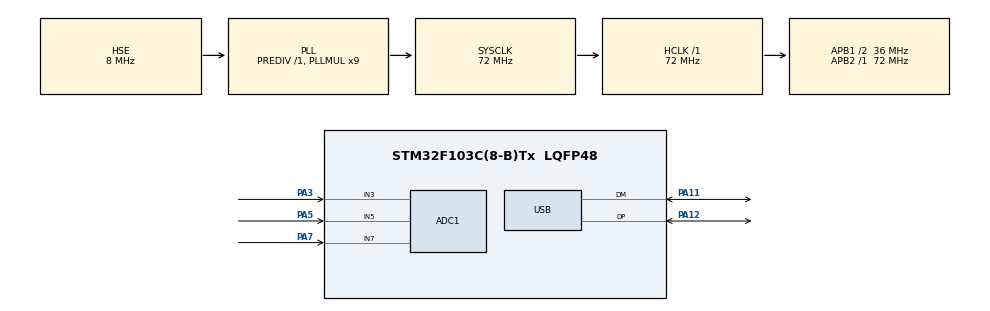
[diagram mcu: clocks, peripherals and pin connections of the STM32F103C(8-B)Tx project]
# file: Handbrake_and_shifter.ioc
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ADC1.Channel-1\#ChannelRegularConversion=ADC_CHANNEL_3
ADC1.Channel-2\#ChannelRegularConversion=ADC_CHANNEL_5
ADC1.Channel-3\#ChannelRegularConversion=ADC_CHANNEL_7
ADC1.ContinuousConvMode=ENABLE
ADC1.NbrOfConversion=3
ADC1.NbrOfConversionFlag=1
ADC1.Rank-1\#ChannelRegularConversion=1
ADC1.Rank-2\#ChannelRegularConversion=2
ADC1.Rank-3\#ChannelRegularConversion=3
ADC1.SamplingTime-1\#ChannelRegularConversion=ADC_SAMPLETIME_7CYCLES_5
ADC1.SamplingTime-2\#ChannelRegularConversion=ADC_SAMPLETIME_7CYCLES_5
ADC1.SamplingTime-3\#ChannelRegularConversion=ADC_SAMPLETIME_7CYCLES_5
ADC1.master=1
Dma.ADC1.0.Direction=DMA_PERIPH_TO_MEMORY
Dma.ADC1.0.Instance=DMA1_Channel1
Dma.ADC1.0.MemDataAlignment=DMA_MDATAALIGN_HALFWORD
Dma.ADC1.0.MemInc=DMA_MINC_ENABLE
Dma.ADC1.0.Mode=DMA_CIRCULAR
Dma.ADC1.0.PeriphDataAlignment=DMA_PDATAALIGN_HALFWORD
Dma.ADC1.0.PeriphInc=DMA_PINC_DISABLE
Dma.ADC1.0.Priority=DMA_PRIORITY_LOW
Dma.Request0=ADC1
Mcu.Family=STM32F1
Mcu.Name=STM32F103C(8-B)Tx
Mcu.Package=LQFP48
NVIC.PriorityGroup=NVIC_PRIORITYGROUP_4
NVIC.USB_LP_CAN1_RX0_IRQn=true\:0\:0\:false\:false\:true\:false\:true
PA11.Mode=Device
PA11.Signal=USB_DM
PA12.Mode=Device
PA12.Signal=USB_DP
PA13.Mode=Serial_Wire
PA13.Signal=SYS_JTMS-SWDIO
PA14.Mode=Serial_Wire
PA14.Signal=SYS_JTCK-SWCLK
PA3.Signal=ADCx_IN3
PA5.Signal=ADCx_IN5
PA7.Signal=ADCx_IN7
PD0-OSC_IN.Mode=HSE-External-Oscillator
PD0-OSC_IN.Signal=RCC_OSC_IN
PD1-OSC_OUT.Mode=HSE-External-Oscillator
PD1-OSC_OUT.Signal=RCC_OSC_OUT
ProjectManager.HeapSize=0x200
ProjectManager.StackSize=0x400
ProjectManager.TargetToolchain=STM32CubeIDE
RCC.ADCPresc=RCC_ADCPCLK2_DIV6
RCC.AHBFreq_Value=72000000
RCC.APB1CLKDivider=RCC_HCLK_DIV2
RCC.APB1Freq_Value=36000000
RCC.APB1TimFreq_Value=72000000
RCC.APB2Freq_Value=72000000
RCC.APB2TimFreq_Value=72000000
RCC.HCLKFreq_Value=72000000
RCC.PLLMUL=RCC_PLL_MUL9
RCC.SYSCLKFreq_VALUE=72000000
RCC.SYSCLKSource=RCC_SYSCLKSOURCE_PLLCLK
RCC.USBFreq_Value=48000000
RCC.USBPrescaler=RCC_USBCLKSOURCE_PLL_DIV1_5
SH.ADCx_IN3.0=ADC1_IN3,IN3
SH.ADCx_IN5.0=ADC1_IN5,IN5
SH.ADCx_IN7.0=ADC1_IN7,IN7
USB_DEVICE.CLASS_NAME_FS=CUSTOM_HID
USB_DEVICE.PID_CUSTOMHID_FS=22352 
USB_DEVICE.PRODUCT_STRING_CUSTOMHID_FS=Hydraulic Handbrake and Sequential Shifter
USB_DEVICE.USBD_CUSTOMHID_OUTREPORT_BUF_SIZE=3
USB_DEVICE.USBD_CUSTOM_HID_REPORT_DESC_SIZE=49
USB_DEVICE.VirtualMode=CustomHid
USB_DEVICE.VirtualModeFS=Custom_Hid_FS
VP_USB_DEVICE_VS_USB_DEVICE_CUSTOM_HID_FS.Mode=CUSTOM_HID_FS
board=custom

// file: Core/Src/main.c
/* USER CODE BEGIN Header */
/**
 ******************************************************************************
 * @file           : main.c
 * @brief          : Main program body
 ******************************************************************************
 * @attention
 *
 * <h2><center>&copy; Copyright (c) 2021 STMicroelectronics.
 * All rights reserved.</center></h2>
 *
 * This software component is licensed by ST under Ultimate Liberty license
 * SLA0044, the "License"; You may not use this file except in compliance with
 * the License. You may obtain a copy of the License at:
 *                             www.st.com/SLA0044
 *
 ******************************************************************************
 */
/* USER CODE END Header */
#include "main.h"
#include "adc.h"
#include "dma.h"
#include "usb_device.h"
#include "gpio.h"

/* USER CODE BEGIN Includes */
#include "usbd_customhid.h"
/* USER CODE END Includes */

/* USER CODE BEGIN PV */
extern USBD_HandleTypeDef hUsbDeviceFS;
extern ADC_HandleTypeDef hadc1;
uint16_t adc_result[3]; // { A3, A5, A7 }; default { brake, shift up, shift down }
/* USER CODE END PV */

void SystemClock_Config(void);

int main(void)
{

  /* MCU Configuration--------------------------------------------------------*/

  /* Reset of all peripherals, Initializes the Flash interface and the Systick. */
  HAL_Init();

  /* Configure the system clock */
  SystemClock_Config();

  /* Initialize all configured peripherals */
  MX_GPIO_Init();
  MX_DMA_Init();
  MX_ADC1_Init();
  MX_USB_DEVICE_Init();
  /* USER CODE BEGIN 2 */
	while (HAL_ADCEx_Calibration_Start(&hadc1) != HAL_OK);
	HAL_ADC_Start_DMA(&hadc1, (uint32_t*) adc_result, 3);
  /* USER CODE END 2 */

  /* Infinite loop */
  /* USER CODE BEGIN WHILE */
	while (1) {
		uint8_t usb_report[3]; // { buttons, brake_lsb, brake_msb }
		int16_t brake_adc;	// temporary variable for the brake adc result
		uint8_t shift_up;		// digital value of shift up
		uint8_t shift_down;		// digital value of shift down
		// rescaling the brake adc result to range 0-1000 using formula:
		// new_val = (old_val - old_min) * (new_max - new_min) / (old_max - old_min) + new_min
		brake_adc = ((int16_t) adc_result[0] - 2120) * (1023 - 0)
				/ (3000 - 2120) + 0;
		if (brake_adc < 0)
			brake_adc = 0;	// min. value of brake analog signal
		else if (brake_adc > 1023)
			brake_adc = 1023;	// max. value of brake analog signal
		if (adc_result[1] > 2600)
			shift_up = 1;	// digital value of shift up pressed
		else if (adc_result[1] < 2500)
			shift_up = 0;	// digital value of shift up not pressed
		if (adc_result[2] > 2600)
			shift_down = 2;	// digital value of shift down pressed
		else if (adc_result[2] < 2500)
			shift_down = 0;	// digital value of shift down not pressed
		usb_report[0] = 0b00000011 & (shift_up + shift_down);	// buttons
		usb_report[1] = (uint8_t) brake_adc;	// lsb of analog signal
		usb_report[2] = (uint8_t) (brake_adc >> 8);	// msb of analog signal
		USBD_CUSTOM_HID_SendReport(&hUsbDeviceFS, usb_report, 3);
		HAL_Delay(20);
    /* USER CODE END WHILE */

	}
}

void SystemClock_Config(void)
{
  RCC_OscInitTypeDef RCC_OscInitStruct = {0};
  RCC_ClkInitTypeDef RCC_ClkInitStruct = {0};
  RCC_PeriphCLKInitTypeDef PeriphClkInit = {0};

  /** Initializes the RCC Oscillators according to the specified parameters
  * in the RCC_OscInitTypeDef structure.
  */
  RCC_OscInitStruct.OscillatorType = RCC_OSCILLATORTYPE_HSE;
  RCC_OscInitStruct.HSEState = RCC_HSE_ON;
  RCC_OscInitStruct.HSEPredivValue = RCC_HSE_PREDIV_DIV1;
  RCC_OscInitStruct.HSIState = RCC_HSI_ON;
  RCC_OscInitStruct.PLL.PLLState = RCC_PLL_ON;
  RCC_OscInitStruct.PLL.PLLSource = RCC_PLLSOURCE_HSE;
  RCC_OscInitStruct.PLL.PLLMUL = RCC_PLL_MUL9;
  if (HAL_RCC_OscConfig(&RCC_OscInitStruct) != HAL_OK)
  {
    Error_Handler();
  }
  /** Initializes the CPU, AHB and APB buses clocks
  */
  RCC_ClkInitStruct.ClockType = RCC_CLOCKTYPE_HCLK|RCC_CLOCKTYPE_SYSCLK
                              |RCC_CLOCKTYPE_PCLK1|RCC_CLOCKTYPE_PCLK2;
  RCC_ClkInitStruct.SYSCLKSource = RCC_SYSCLKSOURCE_PLLCLK;
  RCC_ClkInitStruct.AHBCLKDivider = RCC_SYSCLK_DIV1;
  RCC_ClkInitStruct.APB1CLKDivider = RCC_HCLK_DIV2;
  RCC_ClkInitStruct.APB2CLKDivider = RCC_HCLK_DIV1;

  if (HAL_RCC_ClockConfig(&RCC_ClkInitStruct, FLASH_LATENCY_2) != HAL_OK)
  {
    Error_Handler();
  }
  PeriphClkInit.PeriphClockSelection = RCC_PERIPHCLK_ADC|RCC_PERIPHCLK_USB;
  PeriphClkInit.AdcClockSelection = RCC_ADCPCLK2_DIV6;
  PeriphClkInit.UsbClockSelection = RCC_USBCLKSOURCE_PLL_DIV1_5;
  if (HAL_RCCEx_PeriphCLKConfig(&PeriphClkInit) != HAL_OK)
  {
    Error_Handler();
  }
}

void Error_Handler(void)
{
	__disable_irq();
	while (1) {
	}
}

/************************ (C) COPYRIGHT STMicroelectronics *****END OF FILE****/
